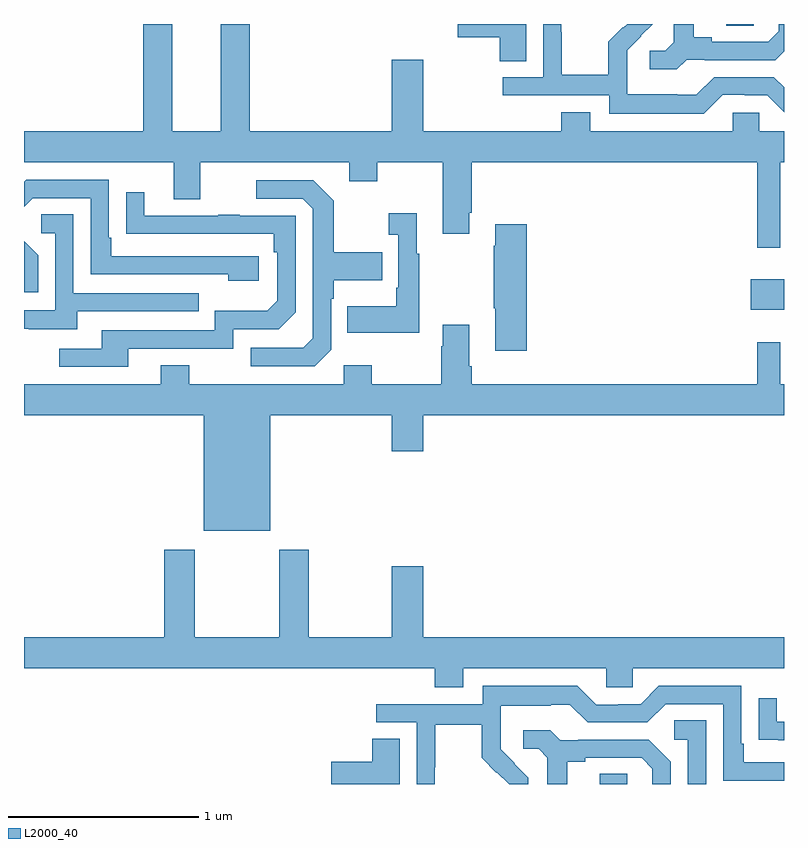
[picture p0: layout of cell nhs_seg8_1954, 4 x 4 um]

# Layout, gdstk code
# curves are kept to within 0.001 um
import gdstk
lib = gdstk.Library(unit=1e-6, precision=1e-09)
def R(c, l, rs):  # rectangles x0, y0, x1, y1
    for r in rs: c.add(gdstk.rectangle(r[:2], r[2:], *l))
def P(c, l, *ps):  # polygons
    for p in ps: c.add(gdstk.Polygon(p, *l))
L2000_40 = (2000, 40)

nhs_seg8_1954 = lib.new_cell('nhs_seg8_1954')
R(nhs_seg8_1954, L2000_40, [(238.031,1107.9,238.176,1107.953), (238.826,1110.395,239,1110.556), (238.697,1111.891,238.842,1111.9)])
P(nhs_seg8_1954, L2000_40, [(238.86,1110.723),(238.981,1110.723),(238.981,1111.172),(239,1111.172),(239,1111.336),(238.869,1111.336),(238.869,1111.434),(238.731,1111.434),(238.731,1111.336),(237.979,1111.336),(237.979,1111.435),(237.827,1111.435),(237.827,1111.336),(237.1,1111.336),(237.1,1111.711),(236.936,1111.711),(236.936,1111.336),(236.189,1111.336),(236.189,1111.9),(236.036,1111.9),(236.036,1111.336),(235.78,1111.336),(235.78,1111.9),(235.628,1111.9),(235.628,1111.336),(235,1111.336),(235,1111.172),(235.787,1111.172),(235.787,1110.978),(235.927,1110.978),(235.927,1111.172),(236.711,1111.172),(236.711,1111.073),(236.859,1111.073),(236.859,1111.172),(237.203,1111.172),(237.203,1110.795),(237.343,1110.795),(237.343,1110.907),(237.356,1110.907),(237.356,1111.172),(238.86,1111.172)],
  [(238.488,1111.713),(238.582,1111.713),(238.582,1111.71),(238.954,1111.71),(239,1111.756),(239,1111.9),(238.973,1111.9),(238.973,1111.863),(238.916,1111.806),(238.621,1111.806),(238.621,1111.829),(238.525,1111.829),(238.525,1111.9),(238.421,1111.9),(238.421,1111.805),(238.374,1111.758),(238.293,1111.758),(238.293,1111.661),(238.436,1111.661)],
  [(237.643,1111.9),(237.282,1111.9),(237.282,1111.829),(237.505,1111.829),(237.505,1111.705),(237.643,1111.705)],
  [(238.677,1111.527),(238.793,1111.527),(238.793,1111.524),(238.911,1111.524),(239,1111.435),(239,1111.567),(238.947,1111.62),(238.632,1111.62),(238.539,1111.527),(238.439,1111.527),(238.439,1111.531),(238.176,1111.531),(238.176,1111.665),(238.174,1111.665),(238.174,1111.762),(238.31,1111.9),(238.174,1111.9),(238.155,1111.881),(238.152,1111.884),(238.075,1111.807),(238.075,1111.633),(237.831,1111.633),(237.831,1111.856),(237.828,1111.856),(237.828,1111.9),(237.732,1111.9),(237.732,1111.62),(237.519,1111.62),(237.519,1111.524),(238.08,1111.524),(238.08,1111.427),(238.577,1111.427)],
  [(236.236,1110.678),(235.459,1110.678),(235.459,1110.775),(235.446,1110.775),(235.446,1111.08),(235.011,1111.08),(235,1111.069),(235,1110.937),(235.047,1110.984),(235.35,1110.984),(235.35,1110.582),(236.075,1110.582),(236.075,1110.548),(236.236,1110.548)],
  [(236.616,1110.186),(236.616,1110.455),(236.629,1110.455),(236.629,1110.551),(236.885,1110.551),(236.885,1110.699),(236.629,1110.699),(236.629,1110.971),(236.523,1111.077),(236.223,1111.077),(236.223,1110.981),(236.466,1110.981),(236.52,1110.927),(236.52,1110.246),(236.469,1110.195),(236.193,1110.195),(236.193,1110.099),(236.529,1110.099)],
  [(235.549,1110.192),(236.1,1110.192),(236.1,1110.294),(236.34,1110.294),(236.43,1110.384),(236.43,1110.891),(236.135,1110.891),(236.135,1110.896),(236.023,1110.896),(236.023,1110.891),(235.633,1110.891),(235.633,1111.015),(235.537,1111.015),(235.537,1110.796),(236.314,1110.795),(236.314,1110.698),(236.334,1110.698),(236.334,1110.444),(236.281,1110.391),(236.004,1110.391),(236.004,1110.288),(235.409,1110.288),(235.409,1110.192),(235.185,1110.192),(235.185,1110.096),(235.549,1110.096)],
  [(237.079,1110.691),(237.067,1110.691),(237.067,1110.904),(236.919,1110.904),(236.919,1110.791),(236.97,1110.791),(236.97,1110.511),(236.958,1110.511),(236.958,1110.415),(236.701,1110.415),(236.701,1110.275),(237.079,1110.275)],
  [(235.279,1110.387),(235.919,1110.387),(235.919,1110.483),(235.26,1110.483),(235.26,1110.899),(235.092,1110.899),(235.092,1110.798),(235.164,1110.798),(235.164,1110.393),(235,1110.393),(235,1110.297),(235.025,1110.297),(235.025,1110.293),(235.279,1110.293)],
  [(237.647,1110.847),(237.479,1110.847),(237.479,1110.734),(237.472,1110.734),(237.472,1110.403),(237.479,1110.403),(237.479,1110.18),(237.647,1110.18)],
  [(235.074,1110.682),(235,1110.756),(235,1110.489),(235.074,1110.489)],
  [(236.296,1109.84),(236.936,1109.84),(236.936,1109.652),(237.1,1109.652),(237.1,1109.84),(239,1109.84),(239,1110.004),(238.981,1110.004),(238.981,1110.226),(238.86,1110.226),(238.86,1110.004),(237.356,1110.004),(237.356,1110.1),(237.343,1110.1),(237.343,1110.316),(237.203,1110.316),(237.203,1110.203),(237.196,1110.203),(237.196,1110.004),(236.829,1110.004),(236.829,1110.103),(236.682,1110.103),(236.682,1110.004),(235.869,1110.004),(235.869,1110.103),(235.721,1110.103),(235.721,1110.004),(235,1110.004),(235,1109.84),(235.946,1109.84),(235.946,1109.234),(236.296,1109.234)],
  [(237.313,1108.508),(238.065,1108.508),(238.065,1108.41),(238.203,1108.41),(238.203,1108.508),(239,1108.508),(239,1108.672),(237.1,1108.672),(237.1,1109.047),(236.936,1109.047),(236.936,1108.672),(236.499,1108.672),(236.499,1109.134),(236.344,1109.134),(236.344,1108.672),(235.899,1108.672),(235.899,1109.134),(235.739,1109.134),(235.739,1108.672),(235,1108.672),(235,1108.508),(237.161,1108.508),(237.161,1108.409),(237.313,1108.409)],
  [(237.162,1107.988),(237.165,1107.988),(237.165,1108.212),(237.409,1108.212),(237.409,1108.037),(237.486,1107.96),(237.489,1107.963),(237.553,1107.9),(237.654,1107.9),(237.654,1107.934),(237.508,1108.082),(237.508,1108.179),(237.51,1108.179),(237.51,1108.313),(237.773,1108.313),(237.773,1108.317),(237.873,1108.317),(237.966,1108.224),(238.281,1108.224),(238.377,1108.32),(238.68,1108.32),(238.68,1107.918),(239,1107.918),(239,1108.014),(238.789,1108.014),(238.789,1108.111),(238.776,1108.111),(238.776,1108.416),(238.341,1108.416),(238.245,1108.32),(238.127,1108.32),(238.127,1108.317),(238.011,1108.317),(237.911,1108.417),(237.414,1108.417),(237.414,1108.32),(236.853,1108.32),(236.853,1108.224),(237.066,1108.224),(237.066,1107.9),(237.162,1107.9)],
  [(239,1108.227),(238.963,1108.227),(238.963,1108.351),(238.867,1108.351),(238.867,1108.132),(238.969,1108.132),(238.969,1108.131),(239,1108.131)],
  [(238.59,1108.235),(238.422,1108.235),(238.422,1108.134),(238.494,1108.134),(238.494,1107.9),(238.59,1107.9)],
  [(237.859,1108.016),(237.955,1108.016),(237.955,1108.038),(238.25,1108.038),(238.307,1107.981),(238.307,1107.9),(238.404,1107.9),(238.404,1108.018),(238.288,1108.134),(237.916,1108.134),(237.916,1108.131),(237.822,1108.131),(237.77,1108.183),(237.627,1108.183),(237.627,1108.086),(237.708,1108.086),(237.755,1108.039),(237.755,1107.9),(237.859,1107.9)],
  [(236.977,1108.139),(236.834,1108.139),(236.834,1108.016),(236.616,1108.016),(236.616,1107.9),(236.977,1107.9)])

lib.write_gds('nhs_seg8_1954.gds')
